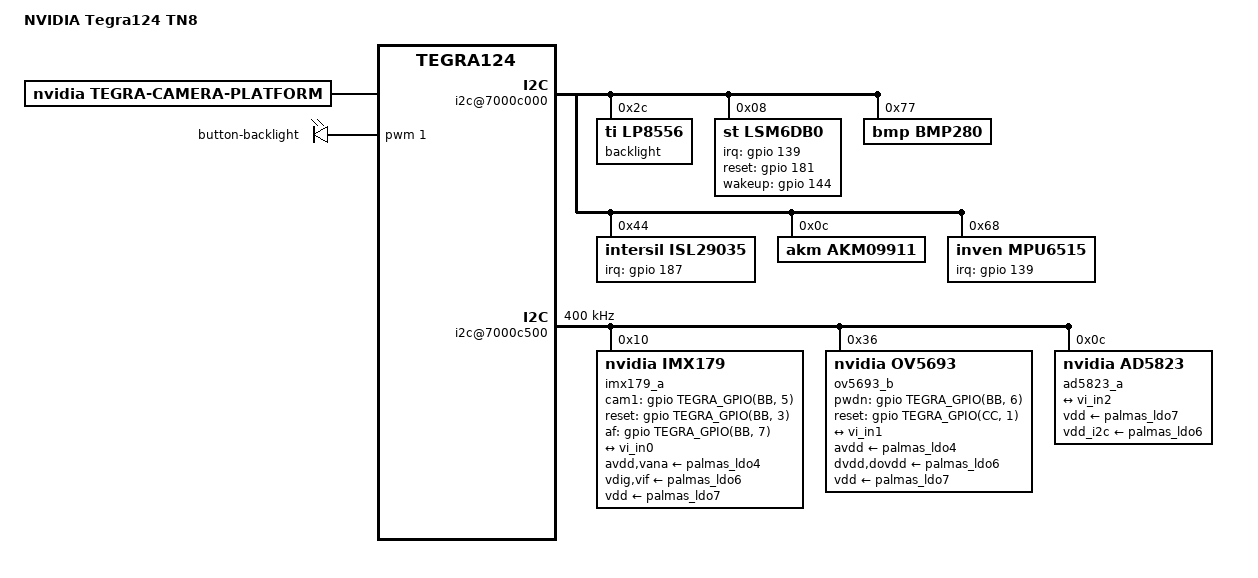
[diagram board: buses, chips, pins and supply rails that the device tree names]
/dts-v1/;

#include "tegra124.dtsi"
#include "tegra124-tn8.dtsi"
#include "tegra124-platforms/tegra124-tn8-emc-e1922-1100-a00.dtsi"
#include "tegra124-platforms/tegra124-tn8-pmic-e1736-1000-a00.dtsi"
#include "tegra124-platforms/tegra124-tn8-fixed-e1736-1000-a00.dtsi"

/* this is static dtsi files */
#include "tegra124-platforms/tegra124-mocha-gpio-e1780.dtsi"
#include "tegra124-platforms/tegra124-mocha-keys-e1780.dtsi"
#include "tegra124-platforms/tegra124-mocha-pinmux-e1780.dtsi"
/* end of static dtsi files */

#include "tegra124-platforms/tegra124-mocha-sysedp.dtsi"

/ {
	model = "NVIDIA Tegra124 TN8";
	compatible = "nvidia,tn8", "nvidia,tegra124";
	nvidia,dtsfilename = __FILE__;
	nvidia,boardids = "1780:1100:3:A:7","1845:1000:0:A:7";
	#address-cells = <2>;
	#size-cells = <2>;

	chosen {
		bootargs = "tegraid=40.0.0.00.00 vmalloc=256M video=tegrafb console=ttyS0,115200n8 earlyprintk";
		linux,initrd-start = <0x85000000>;
		linux,initrd-end = <0x851bc400>;
	};

	i2c@7000c700 {
		nvidia,clock-always-on;
		clock-frequency = <400000>;
	};

	i2c@7000c000 {
		backlight@2c {
			compatible = "ti,lp8556";
			reg = <0x2c>;

			dev-ctrl = /bits/ 8 <0x83>;
			init-brt = /bits/ 8 <0x1f>;
			led-en   = /bits/ 8 <0x0f>;

			rom_98h {
				rom-addr = /bits/ 8 <0x98>;
				rom-val = /bits/ 8 <0x80>;
			};
			rom_9eh {
				rom-addr = /bits/ 8 <0x9e>;
				rom-val = /bits/ 8 <0x21>;
			};
			rom_a0h {
				rom-addr = /bits/ 8 <0xa0>;
				rom-val = /bits/ 8 <0xff>;
			};
			rom_a1h {
				rom-addr = /bits/ 8 <0xa1>;
				rom-val = /bits/ 8 <0x3f>;
			};
			rom_a2h {
				rom-addr = /bits/ 8 <0xa2>;
				rom-val = /bits/ 8 <0x20>;
			};
			rom_a3h {
				rom-addr = /bits/ 8 <0xa3>;
				rom-val = /bits/ 8 <0x00>;
			};
			rom_a4h {
				rom-addr = /bits/ 8 <0xa4>;
				rom-val = /bits/ 8 <0x72>;
			};
			rom_a5h {
				rom-addr = /bits/ 8 <0xa5>;
				rom-val = /bits/ 8 <0x24>;
			};
			rom_a6h {
				rom-addr = /bits/ 8 <0xa6>;
				rom-val = /bits/ 8 <0x80>;
			};
			rom_a7h {
				rom-addr = /bits/ 8 <0xa7>;
				rom-val = /bits/ 8 <0xf5>;
			};
			rom_a8h {
				rom-addr = /bits/ 8 <0xa8>;
				rom-val = /bits/ 8 <0x24>;
			};
			rom_a9h {
				rom-addr = /bits/ 8 <0xa9>;
				rom-val = /bits/ 8 <0xb2>;
			};
			rom_aah {
				rom-addr = /bits/ 8 <0xaa>;
				rom-val = /bits/ 8 <0x8f>;
			};
			rom_aeh {
				rom-addr = /bits/ 8 <0xae>;
				rom-val = /bits/ 8 <0x0f>;
			};
		};

		lsm6db0@08 {
			compatible = "st,lsm6db0";
			reg = <0x08>;

			st,irq-gpio = <&gpio 139 0x00>;
			st,reset-gpio = <&gpio 181 0x00>;
			st,wakeup-gpio = <&gpio 144 0x00>;
		};

		bmp280@77 {
			compatible = "bmp,bmp280";
			reg = <0x77>;
		};

		isl29035@44 {
			compatible = "intersil,isl29035";
			reg = <0x44>;
			interrupt-parent = <&gpio>;
			interrupts = <187 0x08>;

			als_factor = <16>;
			als_highrange = <2>;
			als_lowthres = <0x0e00>;
			als_highthres = <0xf800>;
			als_sensitive = <25>;
		};

		akm09911@0c {
			compatible = "akm,akm09911";
			reg = <0x0c>;

			akm,layout = <6>;
			akm,gpio_rst = <132>;
		};

		mpu6515@68 {
			compatible = "inven,mpu6515";
			reg = <0x68>;
			interrupt-parent = <&gpio>;
			interrupts = <139 0x01>;

			regulator_config = <0>;

			fs_range = <0x00>;
			axis_map_x = <0>;
			axis_map_y = <1>;
			axis_map_z = <2>;
			negate_x = <0>;
			negate_y = <1>;
			negate_z = <1>;
			poll_interval = <200>;
			min_interval = <5>;

			inven,secondary_type = "none";
			inven,secondary_reg = <0x0C>;
			inven,secondary_name = "ak8963";
			inven,secondary_axis_map_x = <1>;
			inven,secondary_axis_map_y = <0>;
			inven,secondary_axis_map_z = <2>;
			inven,secondary_negate_x = <0>;
			inven,secondary_negate_y = <0>;
			inven,secondary_negate_z = <1>;

			inven,aux_type = "none";
			inven,aux_reg = <0x76>;
			inven,aus_name = "bmp280";
		};
	};

	/* Camera I2C bus (CAM) */
	i2c@7000c500 {
		status = "okay";
		clock-frequency = <400000>;

		/* Rear camera: IMX179 8MP */
		imx179_a@10 {
			compatible = "nvidia,imx179";
			reg = <0x10>;
			status = "okay";

			cam1-gpios = <&gpio TEGRA_GPIO(BB, 5) GPIO_ACTIVE_HIGH>;
			reset-gpios = <&gpio TEGRA_GPIO(BB, 3) GPIO_ACTIVE_HIGH>;
			af-gpios = <&gpio TEGRA_GPIO(BB, 7) GPIO_ACTIVE_HIGH>;

			nvidia,ext_reg;

			avdd-supply = <&palmas_ldo4>;
			vdig-supply = <&palmas_ldo6>;
			vana-supply = <&palmas_ldo4>;
			vif-supply = <&palmas_ldo6>;
			vdd-supply = <&palmas_ldo7>;

			mclk = "mclk";
			has-eeprom;

			ports {
				#address-cells = <1>;
				#size-cells = <0>;

				port@0 {
					reg = <0>;
					imx179_out0: endpoint {
						csi-port = <0>;
						bus-width = <4>;
						remote-endpoint = <&vi_in0>;
					};
				};
			};
		};

		/* Front camera: OV5693 5MP */
		ov5693_b@36 {
			compatible = "nvidia,ov5693";
			reg = <0x36>;
			status = "okay";

			pwdn-gpios = <&gpio TEGRA_GPIO(BB, 6) GPIO_ACTIVE_HIGH>;
			reset-gpios = <&gpio TEGRA_GPIO(CC, 1) GPIO_ACTIVE_HIGH>;

			avdd-supply = <&palmas_ldo4>;
			dvdd-supply = <&palmas_ldo6>;
			dovdd-supply = <&palmas_ldo6>;
			vdd-supply = <&palmas_ldo7>;

			mclk = "mclk2";

			ports {
				#address-cells = <1>;
				#size-cells = <0>;

				port@0 {
					reg = <0>;
					ov5693_out0: endpoint {
						csi-port = <1>;
						bus-width = <2>;
						remote-endpoint = <&vi_in1>;
					};
				};
			};
		};

		/* Focuser: AD5823 */
		ad5823_a@0c {
			compatible = "nvidia,ad5823";
			reg = <0x0c>;
			status = "okay";

			vdd-supply = <&palmas_ldo7>;
			vdd_i2c-supply = <&palmas_ldo6>;

			ports {
				#address-cells = <1>;
				#size-cells = <0>;

				port@0 {
					reg = <0>;
					ad5823_out0: endpoint {
						remote-endpoint = <&vi_in2>;
					};
				};
			};
		};
	};

	/* Tegra Camera Platform - bandwidth management */
	tegra-camera-platform {
		compatible = "nvidia,tegra-camera-platform";

		modules {
			module0 {
				badge = "mocha_rear_imx179";
				position = "rear";
				orientation = "1";
				drivernode0 {
					pcl_id = "v4l2_sensor";
					proc-device-tree = "/proc/device-tree/i2c@7000c500/imx179_a@10";
				};
				drivernode1 {
					pcl_id = "v4l2_focuser";
					proc-device-tree = "/proc/device-tree/i2c@7000c500/ad5823_a@0c";
				};
			};

			module1 {
				badge = "mocha_front_ov5693";
				position = "front";
				orientation = "1";
				drivernode0 {
					pcl_id = "v4l2_sensor";
					proc-device-tree = "/proc/device-tree/i2c@7000c500/ov5693_b@36";
				};
			};
		};
	};

	pwmleds {
		compatible = "pwm-leds";
		button_led {
			label = "button-backlight";
			pwms = <&pwm 1 10000>;
			max-brightness = <100>;
			max-duty = <50>;
		};
	};
};

&host1x {
	vi {
		num-channels = <3>;
		status = "okay";

		ports {
			#address-cells = <1>;
			#size-cells = <0>;

			/* Channel 0: IMX179 rear on CSI-A (4-lane) */
			port@0 {
				reg = <0>;
				vi_in0: endpoint {
					csi-port = <0>;
					bus-width = <4>;
					remote-endpoint = <&imx179_out0>;
				};
			};

			/* Channel 1: OV5693 front on CSI-B (2-lane) */
			port@1 {
				reg = <1>;
				vi_in1: endpoint {
					csi-port = <1>;
					bus-width = <2>;
					remote-endpoint = <&ov5693_out0>;
				};
			};

			/* Channel 2: AD5823 focuser */
			port@2 {
				reg = <2>;
				vi_in2: endpoint {
					remote-endpoint = <&ad5823_out0>;
				};
			};
		};
	};

	isp@54600000 {
		status = "okay";
	};

	isp@54680000 {
		status = "okay";
	};
};
